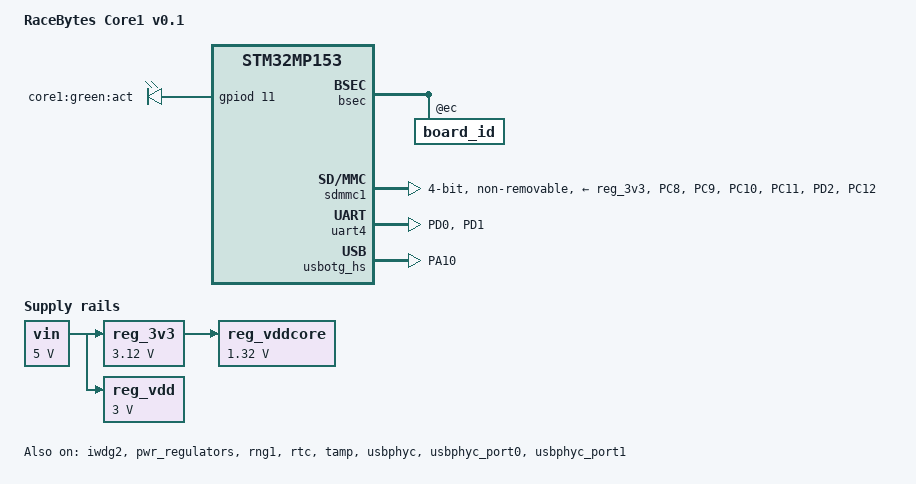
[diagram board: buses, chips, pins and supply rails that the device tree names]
/* SPDX-License-Identifier: (GPL-2.0+ OR BSD-3-Clause) */
/*
 * Copyright (C) STMicroelectronics 2021 - All Rights Reserved
 * Author: STM32CubeMX code generation for STMicroelectronics.
 */

/* For more information on Device Tree configuration, please refer to
 * https://wiki.st.com/stm32mpu/wiki/Category:Device_tree_configuration
 */

/dts-v1/;
#include <dt-bindings/pinctrl/stm32-pinfunc.h>
#include <dt-bindings/clock/stm32mp1-clksrc.h>
#include <dt-bindings/soc/st,stm32-etzpc.h>
#include "stm32mp15-mx.dtsi"

#include "stm32mp153.dtsi"
#include "stm32mp15xa.dtsi"
#include "stm32mp15xxab-pinctrl.dtsi"
#include "stm32mp15-ddr.dtsi"

/* USER CODE BEGIN includes */
#include <dt-bindings/power/stm32mp1-power.h>
/* USER CODE END includes */

/ {
	model = "RaceBytes Core1 v0.1";
	compatible = "st,stm32mp153a-mp1-rev-0.1-mx", "st,stm32mp153";

	/* USER CODE BEGIN root */
	aliases {
		mmc0 = &sdmmc1;
		serial0 = &uart4;
	};

	chosen {
		stdout-path = "serial0:115200n8";
	};

	vin: vin {
		compatible = "regulator-fixed";
		regulator-name = "vin";
		regulator-min-microvolt = <5000000>;
		regulator-max-microvolt = <5000000>;
		regulator-always-on;
	};

	reg_3v3: reg_3v3 {
		compatible = "regulator-fixed";
		regulator-name = "3v3";
		regulator-min-microvolt = <3120000>;
		regulator-max-microvolt = <3120000>;
		regulator-always-on;
		vin-supply = <&vin>;
	};

	reg_vdd: reg_vdd {
		compatible = "regulator-fixed";
		regulator-name = "vdd";
		regulator-min-microvolt = <3000000>;
		regulator-max-microvolt = <3000000>;
		regulator-always-on;
		vin-supply = <&vin>;
	};

	reg_vddcore: reg_vddcore {
		compatible = "regulator-fixed";
		regulator-name = "vddcore";
		regulator-min-microvolt = <1320000>;
		regulator-max-microvolt = <1320000>;
		regulator-always-on;
		vin-supply = <&reg_3v3>;
	};

	led-act {
		compatible = "gpio-leds";

		led-green {
		label = "core1:green:act";
		gpios = <&gpiod 11 0>;
		linux,default-trigger = "heartbeat";
		};
	};
	/* USER CODE END root */

	clocks {
		/* USER CODE BEGIN clocks */
		/* USER CODE END clocks */

		clk_lse: clk-lse {
			st,drive = < LSEDRV_MEDIUM_LOW >;

			/* USER CODE BEGIN clk_lse */
			/* USER CODE END clk_lse */
		};

		clk_hse: clk-hse {

			/* USER CODE BEGIN clk_hse */
			/* USER CODE END clk_hse */
		};
	};

}; /*root*/

&pinctrl {
	rcc_pins_mx: rcc_mx-0 {
		pins {
			pinmux = <STM32_PINMUX('A', 8, AF0)>; /* RCC_MCO_1 */
			bias-disable;
			drive-push-pull;
			slew-rate = <0>;
		};
	};

	sdmmc1_pins_mx: sdmmc1_mx-0 {
		pins1 {
			pinmux = <STM32_PINMUX('C', 8, AF12)>, /* SDMMC1_D0 */
					 <STM32_PINMUX('C', 9, AF12)>, /* SDMMC1_D1 */
					 <STM32_PINMUX('C', 10, AF12)>, /* SDMMC1_D2 */
					 <STM32_PINMUX('C', 11, AF12)>, /* SDMMC1_D3 */
					 <STM32_PINMUX('D', 2, AF12)>; /* SDMMC1_CMD */
			bias-pull-up;
			drive-push-pull;
			slew-rate = <1>;
		};
		pins2 {
			pinmux = <STM32_PINMUX('C', 12, AF12)>; /* SDMMC1_CK */
			bias-pull-up;
			drive-push-pull;
			slew-rate = <3>;
		};
	};

	uart4_pins_mx: uart4_mx-0 {
		pins1 {
			pinmux = <STM32_PINMUX('D', 0, AF8)>; /* UART4_RX */
			bias-pull-up;
		};
		pins2 {
			pinmux = <STM32_PINMUX('D', 1, AF8)>; /* UART4_TX */
			bias-disable;
			drive-push-pull;
			slew-rate = <0>;
		};
	};

	usb_otg_hs_pins_mx: usb_otg_hs_mx-0 {
		pins {
			pinmux = <STM32_PINMUX('A', 10, ANALOG)>; /* USB_OTG_HS_ID */
		};
	};

	/* USER CODE BEGIN pinctrl */
	/* USER CODE END pinctrl */
};

&pinctrl_z {
	/* USER CODE BEGIN pinctrl_z */
	/* USER CODE END pinctrl_z */
};

&rcc {
	st,csi-cal;
	st,hsi-cal;
	st,cal-sec = <60>;
	st,clksrc = <
		CLK_MPU_PLL1P
		CLK_AXI_PLL2P
		CLK_MCU_PLL3P
		CLK_PLL12_HSE
		CLK_PLL3_HSE
		CLK_PLL4_HSE
		CLK_RTC_LSE
		CLK_MCO1_LSE
		CLK_MCO2_DISABLED
	>;
	st,clkdiv = <
		1 		/*MPU*/
		0 		/*AXI*/
		0 		/*MCU*/
		1 		/*APB1*/
		1 		/*APB2*/
		1 		/*APB3*/
		1 		/*APB4*/
		2 		/*APB5*/
		63 		/*RTC*/
		0 		/*MCO1*/
		0 		/*MCO2*/
	>;
	st,pkcs = <
		CLK_CKPER_HSE
		CLK_ETH_DISABLED
		CLK_SDMMC12_PLL4P
		CLK_STGEN_HSE
		CLK_USBPHY_HSE
		CLK_SPI2S1_DISABLED
		CLK_SPI2S23_DISABLED
		CLK_SPI45_DISABLED
		CLK_SPI6_DISABLED
		CLK_I2C46_DISABLED
		CLK_SDMMC3_DISABLED
		CLK_USBO_USBPHY
		CLK_ADC_CKPER
		CLK_CEC_DISABLED
		CLK_I2C12_DISABLED
		CLK_I2C35_DISABLED
		CLK_UART1_DISABLED
		CLK_UART24_HSE
		CLK_UART35_DISABLED
		CLK_UART6_DISABLED
		CLK_UART78_HSE
		CLK_SPDIF_DISABLED
		CLK_FDCAN_PLL4R
		CLK_SAI1_DISABLED
		CLK_SAI2_DISABLED
		CLK_SAI3_DISABLED
		CLK_SAI4_DISABLED
		CLK_RNG1_CSI
		CLK_LPTIM1_DISABLED
		CLK_LPTIM23_DISABLED
		CLK_LPTIM45_DISABLED
	>;
	pll1:st,pll@0 {
		compatible = "st,stm32mp1-pll";
		reg = <0>;
		cfg = < 1 53 0 1 1 PQR(1,0,0) >;
	};
	pll2:st,pll@1 {
		compatible = "st,stm32mp1-pll";
		reg = <1>;
		cfg = < 2 65 1 1 0 PQR(1,0,1) >;
	};
	pll3:st,pll@2 {
		compatible = "st,stm32mp1-pll";
		reg = <2>;
		cfg = < 2 51 1 12 3 PQR(1,0,0) >;
	};
	pll4:st,pll@3 {
		compatible = "st,stm32mp1-pll";
		reg = <3>;
		cfg = < 2 99 7 19 7 PQR(1,0,1) >;
	};
};

&bsec{
	status = "okay";
	secure-status = "okay";

	/* USER CODE BEGIN bsec */
	board_id: board_id@ec {
		reg = <0xec 0x4>;
		st,non-secure-otp;
	};
	/* USER CODE END bsec */
};

&etzpc{
	st,decprot = <
	/*"Non Secured" peripherals*/
	DECPROT(STM32MP1_ETZPC_ADC_ID, DECPROT_NS_RW, DECPROT_UNLOCK)
	DECPROT(STM32MP1_ETZPC_DMA1_ID, DECPROT_NS_RW, DECPROT_UNLOCK)
	DECPROT(STM32MP1_ETZPC_DMA2_ID, DECPROT_NS_RW, DECPROT_UNLOCK)
	DECPROT(STM32MP1_ETZPC_DMAMUX_ID, DECPROT_NS_RW, DECPROT_UNLOCK)
	DECPROT(STM32MP1_ETZPC_TT_FDCAN_ID, DECPROT_NS_RW, DECPROT_UNLOCK)
	DECPROT(STM32MP1_ETZPC_HASH1_ID, DECPROT_NS_RW, DECPROT_UNLOCK)
	DECPROT(STM32MP1_ETZPC_RNG1_ID, DECPROT_NS_RW, DECPROT_UNLOCK)
	DECPROT(STM32MP1_ETZPC_UART4_ID, DECPROT_NS_RW, DECPROT_UNLOCK)
	DECPROT(STM32MP1_ETZPC_UART8_ID, DECPROT_NS_RW, DECPROT_UNLOCK)
	DECPROT(STM32MP1_ETZPC_OTG_ID, DECPROT_NS_RW, DECPROT_UNLOCK)
	DECPROT(STM32MP1_ETZPC_VREFBUF_ID, DECPROT_NS_RW, DECPROT_UNLOCK)
	/*"NS_R S_W" peripherals*/
	DECPROT(STM32MP1_ETZPC_DDRCTRL_ID, DECPROT_NS_R_S_W, DECPROT_LOCK)
	DECPROT(STM32MP1_ETZPC_DDRPHYC_ID, DECPROT_NS_R_S_W, DECPROT_LOCK)
	/*"Secured" peripherals*/
	DECPROT(STM32MP1_ETZPC_IWDG1_ID, DECPROT_S_RW, DECPROT_UNLOCK)
	DECPROT(STM32MP1_ETZPC_STGENC_ID, DECPROT_S_RW, DECPROT_UNLOCK)
	/*"Mcu Isolation" peripherals*/
	DECPROT(STM32MP1_ETZPC_UART7_ID, DECPROT_MCU_ISOLATION, DECPROT_UNLOCK)

	/*Restriction: following IDs are not managed  - please to use User-Section if needed:
		STM32MP1_ETZPC_SRAMx_ID, STM32MP1_ETZPC_RETRAM_ID, STM32MP1_ETZPC_BKPSRAM_ID*/

	/* USER CODE BEGIN etzpc_decprot */
	DECPROT(STM32MP1_ETZPC_BKPSRAM_ID, DECPROT_S_RW, DECPROT_LOCK)

	/* Clear warning messages "ETZPC: xxx could be non secure" */
	DECPROT(STM32MP1_ETZPC_USART1_ID, DECPROT_NS_RW, DECPROT_UNLOCK)
	DECPROT(STM32MP1_ETZPC_SPI6_ID, DECPROT_NS_RW, DECPROT_UNLOCK)
	DECPROT(STM32MP1_ETZPC_I2C4_ID, DECPROT_NS_RW, DECPROT_UNLOCK)
	DECPROT(STM32MP1_ETZPC_I2C6_ID, DECPROT_NS_RW, DECPROT_UNLOCK)
	DECPROT(STM32MP1_ETZPC_CRYP1_ID, DECPROT_NS_RW, DECPROT_UNLOCK)
	/* USER CODE END etzpc_decprot */
	>;

	secure-status = "okay";

	/* USER CODE BEGIN etzpc */
	/* USER CODE END etzpc */
};

&iwdg1{
	secure-status = "okay";

	/* USER CODE BEGIN iwdg1 */
	/* USER CODE END iwdg1 */
};

&iwdg2{
	status = "okay";
	secure-status = "okay";

	/* USER CODE BEGIN iwdg2 */
	timeout-sec = <32>;
	secure-timeout-sec = <5>;
	/* USER CODE END iwdg2 */
};

&pwr_regulators{
	status = "okay";
	secure-status = "okay";

	/* USER CODE BEGIN pwr_regulators */
	system_suspend_supported_soc_modes = <
		STM32_PM_CSLEEP_RUN
		STM32_PM_CSTOP_ALLOW_LP_STOP
		STM32_PM_CSTOP_ALLOW_STANDBY_DDR_SR
	>;
	system_off_soc_mode = <STM32_PM_CSTOP_ALLOW_STANDBY_DDR_OFF>;
	/* USER CODE END pwr_regulators */
};

&rcc{
	pinctrl-names = "default";
	pinctrl-0 = <&rcc_pins_mx>;
	status = "okay";
	secure-status = "okay";

	/* USER CODE BEGIN rcc */
	/* USER CODE END rcc */
};

&rng1{
	status = "okay";
	secure-status = "okay";

	/* USER CODE BEGIN rng1 */
	/* USER CODE END rng1 */
};

&rtc{
	status = "okay";
	secure-status = "okay";

	/* USER CODE BEGIN rtc */
	/* USER CODE END rtc */
};

&sdmmc1{
	pinctrl-names = "default";
	pinctrl-0 = <&sdmmc1_pins_mx>;
	status = "okay";

	/* USER CODE BEGIN sdmmc1 */
	bus-width = <4>;
	non-removable;
	disable-wp;

	st,neg-edge;
	max-frequency = <50000000>;
	
	vmmc-supply = <&reg_3v3>;
	vqmmc-supply = <&reg_vdd>;
	/* USER CODE END sdmmc1 */
};

&tamp{
	status = "okay";
	secure-status = "okay";

	/* USER CODE BEGIN tamp */
	/* USER CODE END tamp */
};

&uart4{
	pinctrl-names = "default";
	pinctrl-0 = <&uart4_pins_mx>;
	status = "okay";

	/* USER CODE BEGIN uart4 */
	/* USER CODE END uart4 */
};

&usbotg_hs{
	pinctrl-names = "default";
	pinctrl-0 = <&usb_otg_hs_pins_mx>;
	status = "okay";

	/* USER CODE BEGIN usbotg_hs */
	/* USER CODE END usbotg_hs */
};

&usbphyc{
	status = "okay";

	/* USER CODE BEGIN usbphyc */
	/* USER CODE END usbphyc */
};

&usbphyc_port0{
	status = "okay";

	/* USER CODE BEGIN usbphyc_port0 */
	/* USER CODE END usbphyc_port0 */
};

&usbphyc_port1{
	status = "okay";

	/* USER CODE BEGIN usbphyc_port1 */
	/* USER CODE END usbphyc_port1 */
};

/* USER CODE BEGIN addons */
// gpio-poweroff {
// 	compatible = "gpio-poweroff";
// 	gpios = <&gpioa 2 GPIO_ACTIVE_LOW>;
// 	active-delay-ms = <1000>;
// 	timeout-ms = <3000>;
// };
/* USER CODE END addons */

